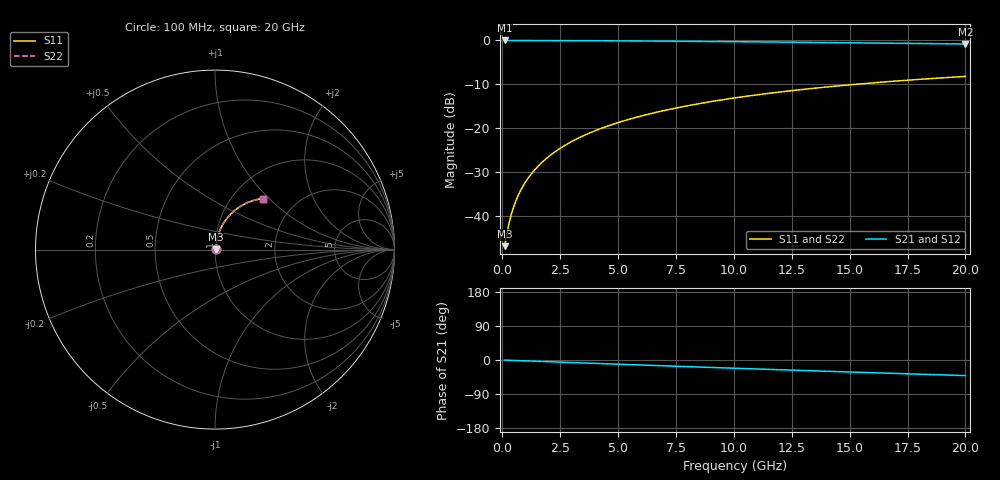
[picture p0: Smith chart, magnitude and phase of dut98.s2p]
! Touchstone file exported from HFSS 2026.1.0
!  File:  C:/ffzhzh/LocalFiles/Ansys_Project_Files/temp_train_TMRDL_98_1782881663_43084.aedt
!  Generated:  12:55:36 PM Jul  1, 2026
!  Design:  TMRDL
!  Project:  temp_train_TMRDL_98_1782881663_43084
! Variables:
!  h_bsmrdl = 2um
!  h_ox = 20um
!  h_rdl = 5um
!  h_sub = 80um
!  h_tmrdl = 3.94um
!  h_tsv = 80um
!  h_via = 3um
!  l_bsmrdl = 300um
!  l_sub = 1004.3um
!  l_tmrdl = 604.3um
!  m_sub = 200um
!  pitch = 37.35um
!  r_tsv = 6um
!  s_tmrdl = 10um
!  w_bsmrdl = 18um
!  w_sub = 500um
!  w_tmrdl = 14.72um
!  x_tsv_center1 = 611.66um
!  x_tsv_center2 = 929.66um
!  x_tsv_center3 = 1548.68um
!  x_tsv_center4 = 1866.68um
!  x_tsv_center5 = 2485.7um
!  x_tsv_center6 = 2803.7um
# GHz S MA R 50.000000
! Terminal data exported
! Port[1] = TM_RDL1_1_T1
! Port[2] = TM_RDL1_1_T2
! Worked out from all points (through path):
!   200 points, 100 MHz to 20 GHz, reference 50 ohm
!   highest |S21| = -0.03 dB at 100 MHz (marker M1); lowest = -0.8 dB at 20 GHz (marker M2)
!   group delay of S21, straight-line fit = 5.71 ps
!   lowest |S11| = -46.8 dB at 100 MHz (marker M3), VSWR 1.01, Z = 50.4 + j0.256 ohm
!   |S11| at or under -10 dB: start of sweep to 15.26 GHz
!   |S22| runs from -46.8 to -8.2 dB; largest |S21 - S12| = 3.4e-15
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0.1  0.004566 33.7  0.9962 -0.2  0.9962 -0.2  0.004566 33.7
! Gamma 0 0 0 0
! Port Impedance 50 0 50 0
0.2  0.006382 52.0  0.9961 -0.5  0.9961 -0.5  0.006382 52.0
0.3  0.008518 61.2  0.996 -0.7  0.996 -0.7  0.008518 61.2
0.4  0.01075 66.4  0.9958 -0.9  0.9958 -0.9  0.01075 66.4
0.5  0.013 69.8  0.9957 -1.1  0.9957 -1.1  0.013 69.8
0.6  0.01527 72.1  0.9956 -1.4  0.9956 -1.4  0.01527 72.1
0.8  0.01984 75.1  0.9954 -1.8  0.9954 -1.8  0.01984 75.1
1.1  0.02675 77.5  0.9951 -2.5  0.9951 -2.5  0.02675 77.5
1.3  0.03138 78.4  0.9948 -2.9  0.9948 -2.9  0.03138 78.4
1.6  0.03834 79.1  0.9945 -3.6  0.9945 -3.6  0.03834 79.1
2.1  0.04996 79.4  0.9937 -4.7  0.9937 -4.7  0.04996 79.4
2.7  0.06385 79.1  0.9926 -6.1  0.9926 -6.1  0.06385 79.1
3.5  0.08221 78.1  0.9908 -7.8  0.9908 -7.8  0.08221 78.1
4.2  0.09809 76.9  0.9888 -9.4  0.9888 -9.4  0.09809 76.9
5  0.116 75.5  0.9863 -11.1  0.9863 -11.1  0.116 75.5
5.9  0.1357 73.7  0.9832 -13.1  0.9832 -13.1  0.1357 73.7
6.8  0.1551 72.0  0.9797 -15.0  0.9797 -15.0  0.1551 72.0
8.3  0.1865 69.0  0.9732 -18.2  0.9732 -18.2  0.1865 69.0
10.1  0.2225 65.5  0.9647 -21.9  0.9647 -21.9  0.2225 65.5
13.4  0.2841 59.1  0.9471 -28.6  0.9471 -28.6  0.2841 59.1
16.7  0.3396 52.9  0.9279 -35.0  0.9279 -35.0  0.3396 52.9
20  0.3886 47.0  0.9082 -41.1  0.9082 -41.1  0.3886 46.9
